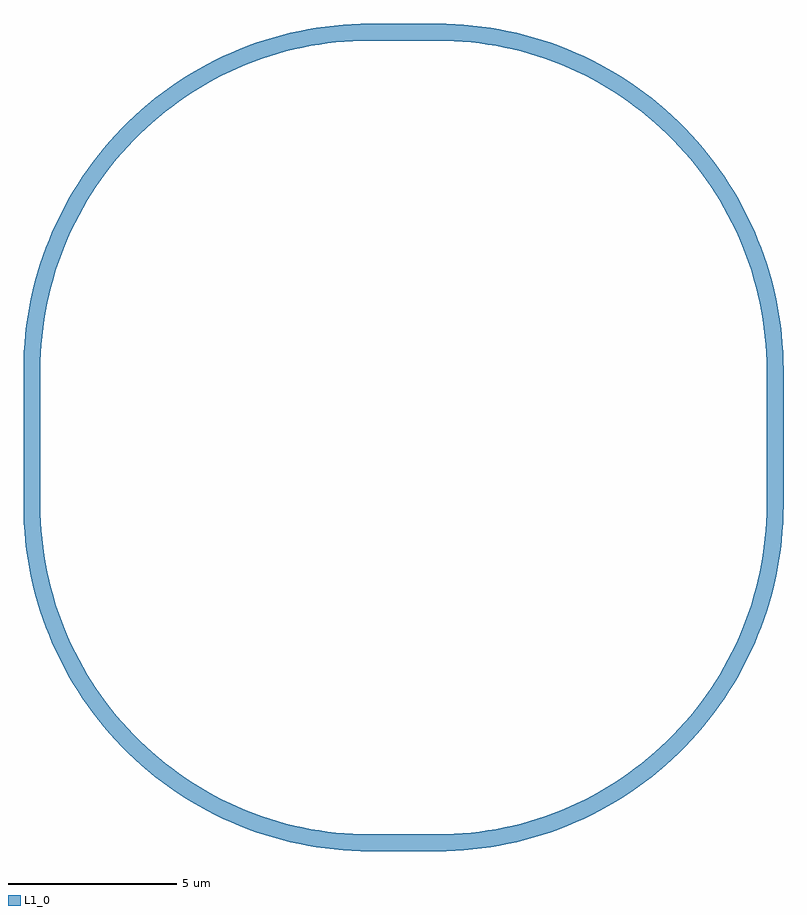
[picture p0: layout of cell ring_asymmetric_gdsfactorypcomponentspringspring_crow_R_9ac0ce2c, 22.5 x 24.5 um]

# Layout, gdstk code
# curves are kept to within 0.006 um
from math import pi, radians
import gdstk
lib = gdstk.Library(unit=1e-6, precision=1e-09)
def R(c, l, rs):  # rectangles x0, y0, x1, y1
    for r in rs: c.add(gdstk.rectangle(r[:2], r[2:], *l))
def P(c, l, *ps):  # polygons
    for p in ps: c.add(gdstk.Polygon(p, *l))
L1_0 = (1, 0)

bend_circular_gdsfactory = lib.new_cell('bend_circular_gdsfactorypcomponentspbendspbend_circular_35685adf')
P(bend_circular_gdsfactory, L1_0, [(0,-0.25),(0,0.25),(0.502,0.263),(1.003,0.302),(1.5,0.366),(1.994,0.456),(2.483,0.571),(2.965,0.712),(3.203,0.791),(3.673,0.968),(4.133,1.169),(4.582,1.394),(5.019,1.641),(5.233,1.773),(5.649,2.053),(6.051,2.355),(6.246,2.513),(6.436,2.676),(6.805,3.018),(7.155,3.377),(7.487,3.754),(7.645,3.949),(7.947,4.351),(8.227,4.767),(8.359,4.981),(8.606,5.418),(8.721,5.641),(8.831,5.867),(9.032,6.327),(9.209,6.797),(9.361,7.275),(9.489,7.761),(9.592,8.252),(9.669,8.748),(9.721,9.248),(9.747,9.749),(9.75,10),(10.25,10),(10.236,9.472),(10.196,8.946),(10.128,8.423),(10.084,8.162),(9.976,7.646),(9.842,7.135),(9.681,6.632),(9.495,6.139),(9.392,5.895),(9.169,5.417),(8.92,4.951),(8.649,4.499),(8.354,4.061),(8.037,3.639),(7.699,3.233),(7.341,2.846),(6.963,2.478),(6.566,2.129),(6.152,1.802),(5.722,1.496),(5.277,1.213),(4.817,0.953),(4.345,0.717),(3.861,0.505),(3.368,0.319),(2.865,0.158),(2.354,0.024),(1.838,-0.084),(1.577,-0.128),(1.054,-0.196),(0.528,-0.236)])

straight_gdsfactorypcomp = lib.new_cell('straight_gdsfactorypcomponentspwaveguidespstraight_L2_N_815d3d03')
R(straight_gdsfactorypcomp, L1_0, [(0,-0.25,2,0.25)])

c_straight_gdsfactorypcomp = lib.new_cell('straight_gdsfactorypcomponentspwaveguidespstraight_L4_N_a6eac62c')
R(c_straight_gdsfactorypcomp, L1_0, [(0,-0.25,4,0.25)])

ring_asymmetric_gdsfacto = lib.new_cell('ring_asymmetric_gdsfactorypcomponentspringspring_crow_R_9ac0ce2c')
ring_asymmetric_gdsfacto.add(gdstk.Reference(bend_circular_gdsfactory, (2,0)))
ring_asymmetric_gdsfacto.add(gdstk.Reference(bend_circular_gdsfactory, (12,14), rotation=pi/2))
ring_asymmetric_gdsfacto.add(gdstk.Reference(bend_circular_gdsfactory, (0,24), rotation=pi))
ring_asymmetric_gdsfacto.add(gdstk.Reference(bend_circular_gdsfactory, (-10,10), rotation=3*pi/2))
ring_asymmetric_gdsfacto.add(gdstk.Reference(straight_gdsfactorypcomp, (0,0)))
ring_asymmetric_gdsfacto.add(gdstk.Reference(straight_gdsfactorypcomp, (2,24), rotation=pi))
ring_asymmetric_gdsfacto.add(gdstk.Reference(c_straight_gdsfactorypcomp, (12,10), rotation=pi/2))
ring_asymmetric_gdsfacto.add(gdstk.Reference(c_straight_gdsfactorypcomp, (-10,14), rotation=3*pi/2))

lib.write_gds('ring_asymmetric_gdsfactorypcomponentspringspring_crow_R_9ac0ce2c.gds')
